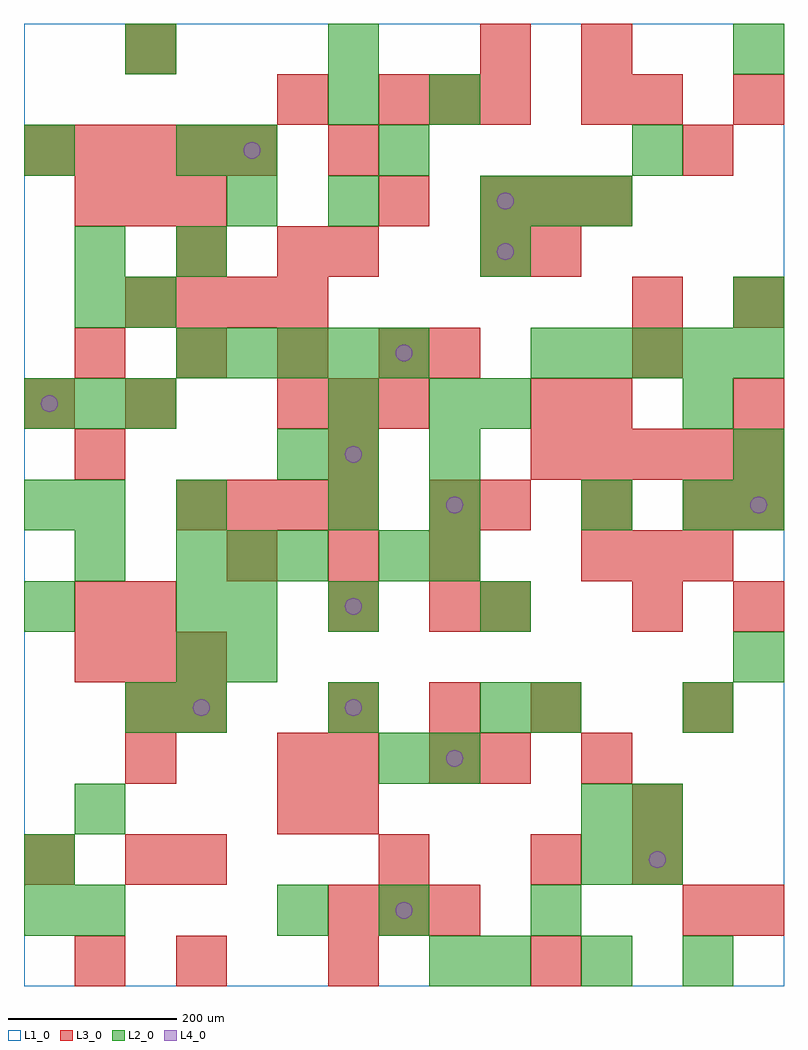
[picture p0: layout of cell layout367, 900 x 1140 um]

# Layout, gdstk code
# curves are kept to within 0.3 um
import gdstk
lib = gdstk.Library(unit=1e-6, precision=1e-09)
def R(c, l, rs):  # rectangles x0, y0, x1, y1
    for r in rs: c.add(gdstk.rectangle(r[:2], r[2:], *l))
def A(c, l, x, y, w, h, nx, ny, dx, dy):  # array of equal rectangles
    R(c, l, [(x+i*dx, y+j*dy, x+i*dx+w, y+j*dy+h) for i in range(nx) for j in range(ny)])
def P(c, l, *ps):  # polygons
    for p in ps: c.add(gdstk.Polygon(p, *l))
L1_0 = (1, 0)
L2_0 = (2, 0)
L3_0 = (3, 0)
L4_0 = (4, 0)

layout367 = lib.new_cell('layout367')
R(layout367, L1_0, [(0,0,900,1140)])
A(layout367, L2_0, 480, 0, 60, 60, 1, 3, 0, 240)
A(layout367, L2_0, 540, 0, 60, 60, 3, 1, 120, 0)
A(layout367, L2_0, 180, 300, 60, 60, 3, 1, 180, 0)
A(layout367, L2_0, 180, 480, 60, 60, 3, 1, 60, 0)
A(layout367, L2_0, 360, 540, 60, 60, 1, 3, 0, 60)
A(layout367, L2_0, 480, 540, 60, 60, 1, 3, 0, 60)
A(layout367, L2_0, 0, 660, 60, 60, 3, 1, 60, 0)
A(layout367, L2_0, 180, 720, 60, 60, 5, 1, 60, 0)
A(layout367, L2_0, 600, 720, 60, 60, 5, 1, 60, 0)
A(layout367, L2_0, 540, 900, 60, 60, 3, 1, 60, 0)
R(layout367, L2_0, [(0,60,60,120), (60,60,120,120), (300,60,360,120), (420,60,480,120), (600,60,660,120), (0,120,60,180), (660,120,720,180), (720,120,780,180), (60,180,120,240), (660,180,720,240), (720,180,780,240), (420,240,480,300), (120,300,180,360), (600,300,660,360), (780,300,840,360), (180,360,240,420), (240,360,300,420), (840,360,900,420), (0,420,60,480), (180,420,240,480), (240,420,300,480), (360,420,420,480), (540,420,600,480), (60,480,120,540), (420,480,480,540), (0,540,60,600), (60,540,120,600), (180,540,240,600), (660,540,720,600), (780,540,840,600), (840,540,900,600), (300,600,360,660), (840,600,900,660), (540,660,600,720), (780,660,840,720), (60,780,120,840), (120,780,180,840), (840,780,900,840), (60,840,120,900), (180,840,240,900), (540,840,600,900), (240,900,300,960), (360,900,420,960), (0,960,60,1020), (180,960,240,1020), (240,960,300,1020), (420,960,480,1020), (720,960,780,1020), (360,1020,420,1080), (480,1020,540,1080), (120,1080,180,1140), (360,1080,420,1140), (840,1080,900,1140)])
A(layout367, L3_0, 360, 60, 60, 60, 3, 1, 60, 0)
A(layout367, L3_0, 360, 240, 60, 60, 1, 3, 0, 180)
A(layout367, L3_0, 360, 300, 60, 60, 3, 1, 120, 0)
A(layout367, L3_0, 60, 360, 60, 60, 3, 2, 60, 540)
A(layout367, L3_0, 840, 420, 60, 60, 1, 4, 0, 120)
A(layout367, L3_0, 240, 480, 60, 60, 3, 1, 120, 0)
A(layout367, L3_0, 660, 480, 60, 60, 3, 1, 60, 0)
A(layout367, L3_0, 180, 540, 60, 60, 4, 1, 60, 0)
A(layout367, L3_0, 540, 540, 60, 60, 3, 1, 120, 0)
A(layout367, L3_0, 600, 600, 60, 60, 5, 1, 60, 0)
A(layout367, L3_0, 300, 660, 60, 60, 3, 1, 60, 0)
A(layout367, L3_0, 60, 720, 60, 60, 4, 1, 120, 0)
A(layout367, L3_0, 120, 780, 60, 60, 4, 1, 60, 0)
A(layout367, L3_0, 540, 900, 60, 60, 3, 1, 60, 0)
A(layout367, L3_0, 0, 960, 60, 60, 5, 1, 60, 0)
A(layout367, L3_0, 420, 1020, 60, 60, 3, 1, 60, 0)
R(layout367, L3_0, [(60,0,120,60), (180,0,240,60), (360,0,420,60), (600,0,660,60), (780,60,840,120), (840,60,900,120), (0,120,60,180), (120,120,180,180), (180,120,240,180), (420,120,480,180), (600,120,660,180), (720,120,780,180), (300,180,360,240), (360,180,420,240), (720,180,780,240), (120,240,180,300), (300,240,360,300), (480,240,540,300), (540,240,600,300), (660,240,720,300), (120,300,180,360), (180,300,240,360), (780,300,840,360), (60,420,120,480), (120,420,180,480), (480,420,540,480), (540,420,600,480), (720,420,780,480), (480,540,540,600), (60,600,120,660), (0,660,60,720), (120,660,180,720), (600,660,660,720), (660,660,720,720), (480,720,540,780), (720,720,780,780), (720,780,780,840), (180,840,240,900), (300,840,360,900), (360,840,420,900), (540,840,600,900), (600,840,660,900), (420,900,480,960), (360,960,420,1020), (780,960,840,1020), (300,1020,360,1080), (660,1020,720,1080), (720,1020,780,1080), (840,1020,900,1080), (120,1080,180,1140), (540,1080,600,1140), (660,1080,720,1140)])
P(layout367, L4_0, [(40,690),(39.239,693.827),(37.071,697.071),(33.827,699.239),(30,700),(26.173,699.239),(22.929,697.071),(20.761,693.827),(20,690),(20.761,686.173),(22.929,682.929),(26.173,680.761),(30,680),(33.827,680.761),(37.071,682.929),(39.239,686.173)],
  [(220,330),(219.239,333.827),(217.071,337.071),(213.827,339.239),(210,340),(206.173,339.239),(202.929,337.071),(200.761,333.827),(200,330),(200.761,326.173),(202.929,322.929),(206.173,320.761),(210,320),(213.827,320.761),(217.071,322.929),(219.239,326.173)],
  [(280,990),(279.239,993.827),(277.071,997.071),(273.827,999.239),(270,1000),(266.173,999.239),(262.929,997.071),(260.761,993.827),(260,990),(260.761,986.173),(262.929,982.929),(266.173,980.761),(270,980),(273.827,980.761),(277.071,982.929),(279.239,986.173)],
  [(400,330),(399.239,333.827),(397.071,337.071),(393.827,339.239),(390,340),(386.173,339.239),(382.929,337.071),(380.761,333.827),(380,330),(380.761,326.173),(382.929,322.929),(386.173,320.761),(390,320),(393.827,320.761),(397.071,322.929),(399.239,326.173)],
  [(400,450),(399.239,453.827),(397.071,457.071),(393.827,459.239),(390,460),(386.173,459.239),(382.929,457.071),(380.761,453.827),(380,450),(380.761,446.173),(382.929,442.929),(386.173,440.761),(390,440),(393.827,440.761),(397.071,442.929),(399.239,446.173)],
  [(400,630),(399.239,633.827),(397.071,637.071),(393.827,639.239),(390,640),(386.173,639.239),(382.929,637.071),(380.761,633.827),(380,630),(380.761,626.173),(382.929,622.929),(386.173,620.761),(390,620),(393.827,620.761),(397.071,622.929),(399.239,626.173)],
  [(460,90),(459.239,93.827),(457.071,97.071),(453.827,99.239),(450,100),(446.173,99.239),(442.929,97.071),(440.761,93.827),(440,90),(440.761,86.173),(442.929,82.929),(446.173,80.761),(450,80),(453.827,80.761),(457.071,82.929),(459.239,86.173)],
  [(460,750),(459.239,753.827),(457.071,757.071),(453.827,759.239),(450,760),(446.173,759.239),(442.929,757.071),(440.761,753.827),(440,750),(440.761,746.173),(442.929,742.929),(446.173,740.761),(450,740),(453.827,740.761),(457.071,742.929),(459.239,746.173)],
  [(520,270),(519.239,273.827),(517.071,277.071),(513.827,279.239),(510,280),(506.173,279.239),(502.929,277.071),(500.761,273.827),(500,270),(500.761,266.173),(502.929,262.929),(506.173,260.761),(510,260),(513.827,260.761),(517.071,262.929),(519.239,266.173)],
  [(520,570),(519.239,573.827),(517.071,577.071),(513.827,579.239),(510,580),(506.173,579.239),(502.929,577.071),(500.761,573.827),(500,570),(500.761,566.173),(502.929,562.929),(506.173,560.761),(510,560),(513.827,560.761),(517.071,562.929),(519.239,566.173)],
  [(580,870),(579.239,873.827),(577.071,877.071),(573.827,879.239),(570,880),(566.173,879.239),(562.929,877.071),(560.761,873.827),(560,870),(560.761,866.173),(562.929,862.929),(566.173,860.761),(570,860),(573.827,860.761),(577.071,862.929),(579.239,866.173)],
  [(580,930),(579.239,933.827),(577.071,937.071),(573.827,939.239),(570,940),(566.173,939.239),(562.929,937.071),(560.761,933.827),(560,930),(560.761,926.173),(562.929,922.929),(566.173,920.761),(570,920),(573.827,920.761),(577.071,922.929),(579.239,926.173)],
  [(760,150),(759.239,153.827),(757.071,157.071),(753.827,159.239),(750,160),(746.173,159.239),(742.929,157.071),(740.761,153.827),(740,150),(740.761,146.173),(742.929,142.929),(746.173,140.761),(750,140),(753.827,140.761),(757.071,142.929),(759.239,146.173)],
  [(880,570),(879.239,573.827),(877.071,577.071),(873.827,579.239),(870,580),(866.173,579.239),(862.929,577.071),(860.761,573.827),(860,570),(860.761,566.173),(862.929,562.929),(866.173,560.761),(870,560),(873.827,560.761),(877.071,562.929),(879.239,566.173)])

lib.write_gds('layout367.gds')
